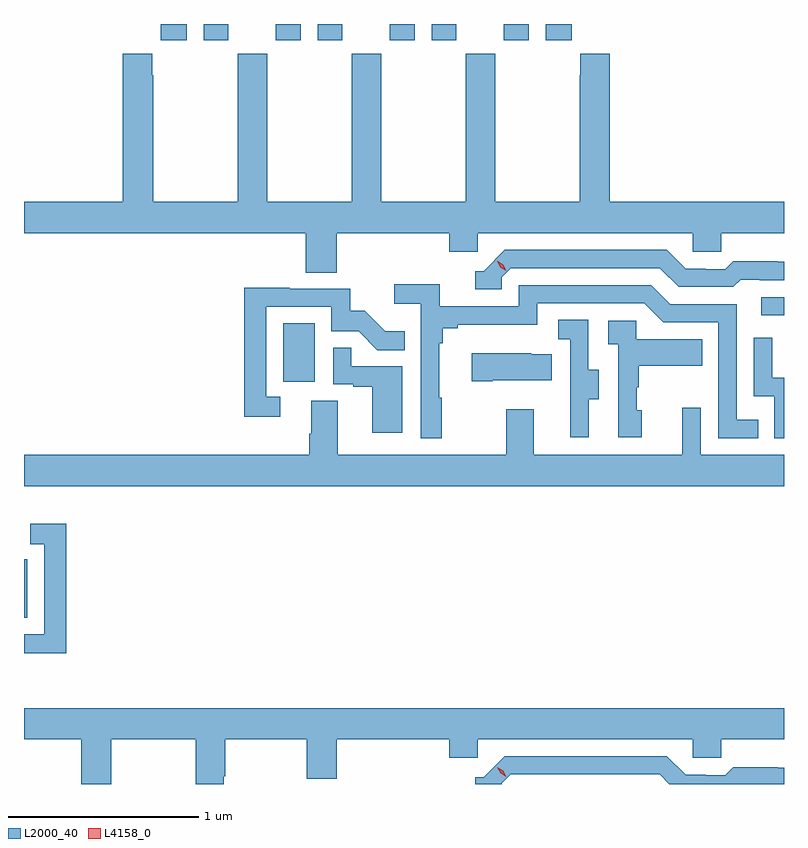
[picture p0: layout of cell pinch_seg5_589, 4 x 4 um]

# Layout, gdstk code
import gdstk
lib = gdstk.Library(unit=1e-6, precision=1e-09)
def R(c, l, rs):  # rectangles x0, y0, x1, y1
    for r in rs: c.add(gdstk.rectangle(r[:2], r[2:], *l))
def P(c, l, *ps):  # polygons
    for p in ps: c.add(gdstk.Polygon(p, *l))
L2000_40 = (2000, 40)
L4158_0 = (4158, 0)

pinch_seg5_589 = lib.new_cell('pinch_seg5_589')
R(pinch_seg5_589, L2000_40, [(1118.333,858.732,1118.35,859.039), (1119.698,859.974,1119.862,860.281), (1122.213,860.322,1122.333,860.418), (1119.053,861.771,1119.19,861.856), (1119.278,861.771,1119.409,861.856), (1119.659,861.771,1119.79,861.856), (1119.878,861.771,1120.009,861.856), (1120.259,861.771,1120.39,861.856), (1120.478,861.771,1120.609,861.856), (1120.859,861.771,1120.99,861.856), (1121.078,861.771,1121.215,861.856)])
P(pinch_seg5_589, L2000_40, [(1120.657,860.92),(1120.212,860.92),(1120.212,861.7),(1120.057,861.7),(1120.057,860.92),(1119.612,860.92),(1119.612,861.7),(1119.457,861.7),(1119.457,860.92),(1119.012,860.92),(1119.012,861.587),(1119.007,861.587),(1119.007,861.7),(1118.852,861.7),(1118.852,860.92),(1118.333,860.92),(1118.333,860.756),(1119.815,860.756),(1119.815,860.548),(1119.98,860.548),(1119.98,860.756),(1120.571,860.756),(1120.571,860.658),(1120.722,860.658),(1120.722,860.756),(1121.853,860.756),(1121.853,860.658),(1122.003,860.658),(1122.003,860.756),(1122.333,860.756),(1122.333,860.92),(1121.417,860.92),(1121.417,861.7),(1121.261,861.7),(1121.261,861.587),(1121.257,861.587),(1121.257,860.92),(1120.812,860.92),(1120.812,861.7),(1120.657,861.7)],
  [(1120.848,860.523),(1120.896,860.571),(1121.679,860.571),(1121.778,860.472),(1122.067,860.472),(1122.106,860.511),(1122.205,860.511),(1122.205,860.508),(1122.333,860.508),(1122.333,860.605),(1122.3,860.605),(1122.3,860.608),(1122.067,860.608),(1122.025,860.565),(1121.922,860.565),(1121.922,860.568),(1121.815,860.568),(1121.716,860.667),(1120.863,860.667),(1120.752,860.556),(1120.709,860.556),(1120.709,860.46),(1120.848,860.46)],
  [(1120.531,859.889),(1120.519,859.889),(1120.519,860.177),(1120.538,860.177),(1120.538,860.254),(1120.615,860.254),(1120.615,860.273),(1121.034,860.273),(1121.034,860.385),(1121.598,860.385),(1121.697,860.286),(1121.988,860.286),(1121.988,859.677),(1122.197,859.677),(1122.197,859.773),(1122.084,859.773),(1122.084,860.382),(1121.734,860.382),(1121.635,860.481),(1120.938,860.481),(1120.938,860.37),(1120.52,860.37),(1120.52,860.486),(1120.281,860.486),(1120.281,860.384),(1120.422,860.384),(1120.422,859.677),(1120.531,859.677)],
  [(1119.682,859.893),(1119.609,859.893),(1119.609,860.367),(1119.951,860.367),(1119.951,860.238),(1120.095,860.238),(1120.193,860.14),(1120.337,860.14),(1120.337,860.239),(1120.233,860.239),(1120.126,860.346),(1120.05,860.346),(1120.05,860.463),(1119.731,860.463),(1119.731,860.468),(1119.493,860.468),(1119.493,859.788),(1119.682,859.788)],
  [(1121.305,859.882),(1121.359,859.882),(1121.359,860.037),(1121.304,860.037),(1121.304,860.3),(1121.145,860.3),(1121.145,860.197),(1121.208,860.197),(1121.208,859.893),(1121.207,859.893),(1121.207,859.68),(1121.305,859.68)],
  [(1121.584,859.824),(1121.559,859.824),(1121.559,859.943),(1121.569,859.943),(1121.569,860.057),(1121.903,860.057),(1121.903,860.197),(1121.556,860.197),(1121.556,860.295),(1121.409,860.295),(1121.409,860.171),(1121.46,860.171),(1121.46,859.68),(1121.584,859.68)],
  [(1122.333,859.994),(1122.27,859.994),(1122.27,860.206),(1122.174,860.206),(1122.174,859.896),(1122.282,859.896),(1122.282,859.677),(1122.333,859.677)],
  [(1120.324,860.055),(1120.055,860.055),(1120.055,860.153),(1119.96,860.153),(1119.96,859.959),(1120.067,859.959),(1120.067,859.947),(1120.166,859.947),(1120.166,859.704),(1120.324,859.704)],
  [(1120.801,859.982),(1121.111,859.982),(1121.111,860.119),(1121.003,860.119),(1121.003,860.122),(1120.689,860.122),(1120.689,859.975),(1120.801,859.975)],
  [(1122.333,859.588),(1121.895,859.588),(1121.895,859.837),(1121.798,859.837),(1121.798,859.588),(1121.017,859.588),(1121.017,859.828),(1120.87,859.828),(1120.87,859.588),(1119.985,859.588),(1119.985,859.874),(1119.845,859.874),(1119.845,859.7),(1119.833,859.7),(1119.833,859.588),(1118.333,859.588),(1118.333,859.424),(1122.333,859.424)],
  [(1118.555,859.225),(1118.367,859.225),(1118.367,859.119),(1118.439,859.119),(1118.439,858.645),(1118.333,858.645),(1118.333,858.544),(1118.555,858.544)],
  [(1118.793,858.092),(1119.238,858.092),(1119.238,857.856),(1119.385,857.856),(1119.385,857.896),(1119.393,857.896),(1119.393,858.092),(1119.82,858.092),(1119.82,857.884),(1119.98,857.884),(1119.98,858.092),(1120.571,858.092),(1120.571,857.994),(1120.722,857.994),(1120.722,858.092),(1121.853,858.092),(1121.853,857.994),(1122.003,857.994),(1122.003,858.092),(1122.333,858.092),(1122.333,858.256),(1118.333,858.256),(1118.333,858.092),(1118.633,858.092),(1118.633,857.856),(1118.793,857.856)],
  [(1120.848,857.859),(1120.896,857.907),(1121.679,857.907),(1121.73,857.856),(1122.333,857.856),(1122.333,857.941),(1122.3,857.941),(1122.3,857.944),(1122.067,857.944),(1122.025,857.901),(1121.922,857.901),(1121.922,857.904),(1121.815,857.904),(1121.716,858.003),(1120.863,858.003),(1120.752,857.892),(1120.709,857.892),(1120.709,857.856),(1120.848,857.856)])
P(pinch_seg5_589, L4158_0, [(1120.871,857.893),(1120.841,857.912),(1120.824,857.944),(1120.824,857.945),(1120.825,857.945),(1120.855,857.925),(1120.872,857.893),(1120.872,857.893)],
  [(1120.871,860.557),(1120.84,860.576),(1120.825,860.609),(1120.825,860.609),(1120.825,860.609),(1120.856,860.59),(1120.871,860.557),(1120.871,860.557)])

lib.write_gds('pinch_seg5_589.gds')
